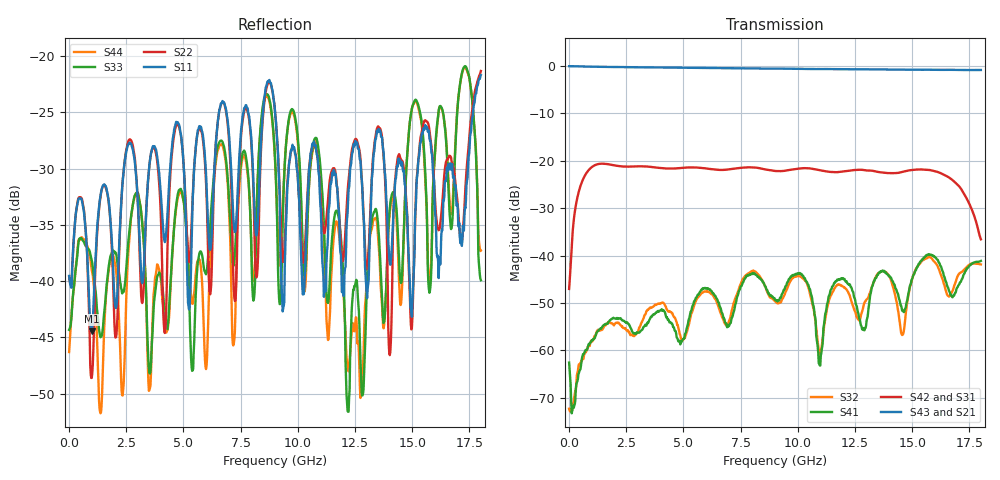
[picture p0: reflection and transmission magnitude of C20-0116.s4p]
! MARKI MICROWAVE INC.
! Email:  info@markimicrowave.com  Phone:  408-778-4200
! Model Number:  C20-0116  Date:  10/12
! Filename:		C20_0116.S4P  Version: 1.0
! Description:  4-port S-parameter data for Directional Coupler C20-0116
! Frequency Range: 	10 MHz to 18 GHz
! Port Configuration:	PORT 1: Input
!  PORT 2: Output
!  Port 3: Coupled
!  Port 4: Isolated
! S4P File: Measurements: Mag<S11> Ang<S11> Mag<S12> Ang<S12> Mag<S13> Ang<S13> Mag<S14> Ang<S14>! row 1
!  Mag<S21> Ang<S21> Mag<S22> Ang<S22> Mag<S23> Ang<S23> Mag<S24> Ang<S24>! row 2
!  Mag<S31> Ang<S31> Mag<S32> Ang<S32> Mag<S33> Ang<S33> Mag<S34> Ang<S34>! row 3
!  Mag<S41> Ang<S41> Mag<S42> Ang<S42> Mag<S43> Ang<S43> Mag<S44> Ang<S44>! row 4
# Hz S  dB  R 50
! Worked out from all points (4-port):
!   801 points, 10 MHz to 18 GHz, reference 50 ohm
!   strongest paths, dB at 10 MHz, 4.508 GHz, 9.005 GHz, 13.5 GHz, 18 GHz:
!     S43: 0.0, -0.3, -0.6, -0.7, -0.8
!     S21: 0.0, -0.4, -0.6, -0.8, -0.9
!     S42: -47.0, -21.6, -22.2, -22.4, -36.6
!     S31: -50.8, -21.6, -22.2, -22.4, -35.9
!     S41: -62.6, -54.4, -49.2, -44.1, -41.1
!     S32: -72.3, -52.2, -49.6, -43.8, -41.9
!   lowest |S11| = -44.5 dB at 999.5 MHz (marker M1), VSWR 1.01, Z = 50.6 - j0.181 ohm
!   |S11| at or under -10 dB: start of sweep to end of sweep
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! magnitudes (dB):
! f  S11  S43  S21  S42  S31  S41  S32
! 10 MHz  -39.5  0.0  0.0  -47.0  -50.8  -62.6  -72.3
! 999.5 MHz  -44.5  -0.2  -0.2  -21.3  -21.3  -57.9  -58.2
! 7.206 GHz  -34.9  -0.5  -0.5  -21.7  -21.7  -51.8  -49.9
! 8.668 GHz  -22.3  -0.6  -0.6  -21.9  -21.9  -47.3  -47.7
! 12.18 GHz  -34.0  -0.7  -0.7  -22.2  -22.1  -45.9  -47.5
! 17.3 GHz  -33.4  -0.9  -0.9  -27.3  -27.2  -43.5  -42.8
! 18 GHz  -21.7  -0.8  -0.9  -36.6  -35.9  -41.1  -41.9
